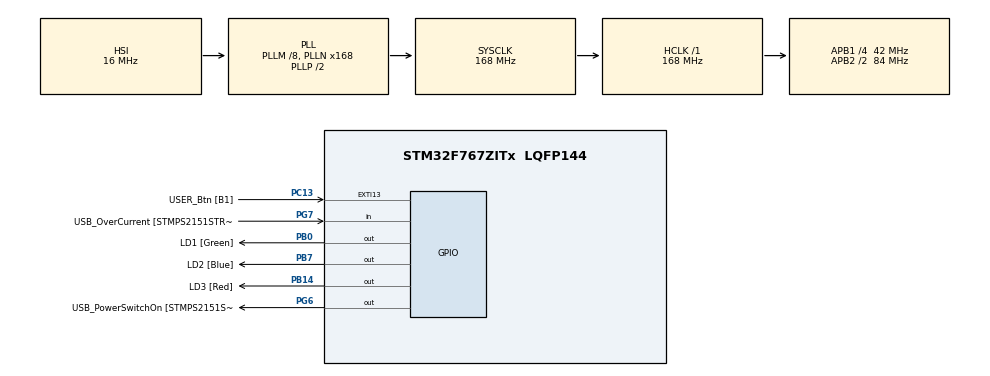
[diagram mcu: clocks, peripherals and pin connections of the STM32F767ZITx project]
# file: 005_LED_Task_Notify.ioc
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Mcu.Family=STM32F7
Mcu.Name=STM32F767ZITx
Mcu.Package=LQFP144
NVIC.PriorityGroup=NVIC_PRIORITYGROUP_4
NVIC.TIM5_IRQn=true\:15\:0\:false\:false\:true\:false\:true\:true
NVIC.TimeBase=TIM5_IRQn
NVIC.TimeBaseIP=TIM5
PA1.GPIO_Label=RMII_REF_CLK [LAN8742A-CZ-TR_REFCLK0]
PA1.Signal=ETH_REF_CLK
PA10.GPIO_Label=USB_ID
PA10.Signal=USB_OTG_FS_ID
PA11.GPIO_Label=USB_DM
PA11.Signal=USB_OTG_FS_DM
PA12.GPIO_Label=USB_DP
PA12.Signal=USB_OTG_FS_DP
PA13.GPIO_Label=TMS
PA13.Signal=SYS_JTMS-SWDIO
PA14.GPIO_Label=TCK
PA14.Signal=SYS_JTCK-SWCLK
PA2.GPIO_Label=RMII_MDIO [LAN8742A-CZ-TR_MDIO]
PA2.Signal=ETH_MDIO
PA7.GPIO_Label=RMII_CRS_DV [LAN8742A-CZ-TR_CRS_DV]
PA7.Signal=ETH_CRS_DV
PA8.GPIO_Label=USB_SOF [TP1]
PA8.Signal=USB_OTG_FS_SOF
PA9.GPIO_Label=USB_VBUS
PA9.Signal=USB_OTG_FS_VBUS
PB0.GPIO_Label=LD1 [Green]
PB0.Signal=GPIO_Output
PB13.GPIO_Label=RMII_TXD1 [LAN8742A-CZ-TR_TXD1]
PB13.Signal=ETH_TXD1
PB14.GPIO_Label=LD3 [Red]
PB14.Signal=GPIO_Output
PB3.GPIO_Label=SW0
PB3.Signal=SYS_JTDO-SWO
PB7.GPIO_Label=LD2 [Blue]
PB7.Signal=GPIO_Output
PC1.GPIO_Label=RMII_MDC [LAN8742A-CZ-TR_MDC]
PC1.Signal=ETH_MDC
PC13.GPIO_Label=USER_Btn [B1]
PC13.Signal=GPXTI13
PC14/OSC32_IN.Signal=RCC_OSC32_IN
PC15/OSC32_OUT.Signal=RCC_OSC32_OUT
PC4.GPIO_Label=RMII_RXD0 [LAN8742A-CZ-TR_RXD0]
PC4.Signal=ETH_RXD0
PC5.GPIO_Label=RMII_RXD1 [LAN8742A-CZ-TR_RXD1]
PC5.Signal=ETH_RXD1
PD8.GPIO_Label=STLK_RX [STM32F103CBT6_PA3]
PD8.Signal=USART3_TX
PD9.GPIO_Label=STLK_TX [STM32F103CBT6_PA2]
PD9.Signal=USART3_RX
PG11.GPIO_Label=RMII_TX_EN [LAN8742A-CZ-TR_TXEN]
PG11.Signal=ETH_TX_EN
PG13.GPIO_Label=RMII_TXD0 [LAN8742A-CZ-TR_TXD0]
PG13.Signal=ETH_TXD0
PG6.GPIO_Label=USB_PowerSwitchOn [STMPS2151STR_EN]
PG6.Signal=GPIO_Output
PG7.GPIO_Label=USB_OverCurrent [STMPS2151STR_FAULT]
PG7.Signal=GPIO_Input
PH0/OSC_IN.GPIO_Label=MCO [STM32F103CBT6_PA8]
PH0/OSC_IN.Mode=HSE-External-Oscillator
PH0/OSC_IN.Signal=RCC_OSC_IN
PH1/OSC_OUT.Mode=HSE-External-Oscillator
PH1/OSC_OUT.Signal=RCC_OSC_OUT
ProjectManager.HeapSize=0x200
ProjectManager.StackSize=0x400
ProjectManager.TargetToolchain=STM32CubeIDE
RCC.48MHZClocksFreq_Value=24000000
RCC.AHBFreq_Value=168000000
RCC.APB1CLKDivider=RCC_HCLK_DIV4
RCC.APB1Freq_Value=42000000
RCC.APB1TimFreq_Value=84000000
RCC.APB2CLKDivider=RCC_HCLK_DIV2
RCC.APB2Freq_Value=84000000
RCC.APB2TimFreq_Value=168000000
RCC.CortexFreq_Value=168000000
RCC.HCLKFreq_Value=168000000
RCC.HSE_VALUE=16000000
RCC.HSI_VALUE=16000000
RCC.LSE_VALUE=32768
RCC.PLLM=8
RCC.PLLMUL=RCC_PLL_MUL9
RCC.PLLN=168
RCC.PRESCALERUSB=RCC_USBCLKSOURCE_PLL_DIV1_5
RCC.SYSCLKFreq_VALUE=168000000
RCC.SYSCLKSource=RCC_SYSCLKSOURCE_PLLCLK
RCC.SYSCLKSourceVirtual=RCC_SYSCLKSOURCE_PLLCLK
RCC.USBFreq_Value=168000000
RCC.VCOOutputFreq_Value=336000000
VP_SYS_VS_tim5.Mode=TIM5
board=NUCLEO-F767ZI

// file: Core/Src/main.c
/* USER CODE BEGIN Header */
/**
  ******************************************************************************
  * @file           : main.c
  * @brief          : Main program body
  ******************************************************************************
  * @attention
  *
  * Copyright (c) 2024 STMicroelectronics.
  * All rights reserved.
  *
  * This software is licensed under terms that can be found in the LICENSE file
  * in the root directory of this software component.
  * If no LICENSE file comes with this software, it is provided AS-IS.
  *
  ******************************************************************************
  */
/* USER CODE END Header */
#include "main.h"

/* USER CODE BEGIN Includes */
#include "FreeRTOS.h"
#include "task.h"
/* USER CODE END Includes */

/* USER CODE BEGIN PD */
/* Define configASSERT() to disable interrupts and sit in a loop. */

/* USER CODE END PD */

/* USER CODE BEGIN PM */
#define LED_GREEN LD1_Pin
#define LED_BLUE LD2_Pin
#define LED_RED LD3_Pin
/* USER CODE END PM */

void SystemClock_Config(void);
static void MX_GPIO_Init(void);
/* USER CODE BEGIN PFP */
static void led_green_handler(void* params);
static void led_red_handler(void* params);
static void led_blue_handler(void* params);
static void button_handler(void* params);
extern void SEGGER_UART_init(uint32_t);
/* USER CODE END PFP */

/* USER CODE BEGIN 0 */
TaskHandle_t volatile next_task_handle;
TaskHandle_t task1_handle;
TaskHandle_t task2_handle;
TaskHandle_t task3_handle;
TaskHandle_t btn_task_handle;
/* USER CODE END 0 */

int main(void)
{

  /* USER CODE BEGIN 1 */

	BaseType_t status;
  /* USER CODE END 1 */

  /* MCU Configuration--------------------------------------------------------*/

  /* Reset of all peripherals, Initializes the Flash interface and the Systick. */
  HAL_Init();

  /* Configure the system clock */
  SystemClock_Config();

  /* Initialize all configured peripherals */
  MX_GPIO_Init();
  /* USER CODE BEGIN 2 */
  CoreDebug->DEMCR |= CoreDebug_DEMCR_TRCENA_Msk;

     DWT->LAR = 0xC5ACCE55;

     DWT->CYCCNT = 0;

     DWT->CTRL |= DWT_CTRL_CYCCNTENA_Msk;
  SEGGER_UART_init(250000);
  SEGGER_SYSVIEW_Conf();

  status=  xTaskCreate(led_green_handler, "LED_Green_Task", 200, NULL, 3,&task1_handle);
  configASSERT(status == pdPASS);
  next_task_handle = task1_handle;
  status=  xTaskCreate(led_blue_handler, "LED_Blue_Task", 200, NULL, 2,&task2_handle);
  configASSERT(status == pdPASS);
  status=  xTaskCreate(led_red_handler, "LED_Red_Task", 200, NULL, 1,&task3_handle);
  configASSERT(status == pdPASS);
  status=  xTaskCreate(button_handler, "Button_Task", 200, NULL, 4,&btn_task_handle);
    configASSERT(status == pdPASS);
  vTaskStartScheduler();
  /* USER CODE END 2 */

  /* Infinite loop */
  while (1)
  {

  }
}

void SystemClock_Config(void)
{
  RCC_OscInitTypeDef RCC_OscInitStruct = {0};
  RCC_ClkInitTypeDef RCC_ClkInitStruct = {0};

  /** Configure the main internal regulator output voltage
  */
  __HAL_RCC_PWR_CLK_ENABLE();
  __HAL_PWR_VOLTAGESCALING_CONFIG(PWR_REGULATOR_VOLTAGE_SCALE2);

  /** Initializes the RCC Oscillators according to the specified parameters
  * in the RCC_OscInitTypeDef structure.
  */
  RCC_OscInitStruct.OscillatorType = RCC_OSCILLATORTYPE_HSI;
  RCC_OscInitStruct.HSIState = RCC_HSI_ON;
  RCC_OscInitStruct.HSICalibrationValue = RCC_HSICALIBRATION_DEFAULT;
  RCC_OscInitStruct.PLL.PLLState = RCC_PLL_ON;
  RCC_OscInitStruct.PLL.PLLSource = RCC_PLLSOURCE_HSI;
  RCC_OscInitStruct.PLL.PLLM = 8;
  RCC_OscInitStruct.PLL.PLLN = 168;
  RCC_OscInitStruct.PLL.PLLP = RCC_PLLP_DIV2;
  RCC_OscInitStruct.PLL.PLLQ = 2;
  RCC_OscInitStruct.PLL.PLLR = 2;
  if (HAL_RCC_OscConfig(&RCC_OscInitStruct) != HAL_OK)
  {
    Error_Handler();
  }

  /** Initializes the CPU, AHB and APB buses clocks
  */
  RCC_ClkInitStruct.ClockType = RCC_CLOCKTYPE_HCLK|RCC_CLOCKTYPE_SYSCLK
                              |RCC_CLOCKTYPE_PCLK1|RCC_CLOCKTYPE_PCLK2;
  RCC_ClkInitStruct.SYSCLKSource = RCC_SYSCLKSOURCE_PLLCLK;
  RCC_ClkInitStruct.AHBCLKDivider = RCC_SYSCLK_DIV1;
  RCC_ClkInitStruct.APB1CLKDivider = RCC_HCLK_DIV4;
  RCC_ClkInitStruct.APB2CLKDivider = RCC_HCLK_DIV2;

  if (HAL_RCC_ClockConfig(&RCC_ClkInitStruct, FLASH_LATENCY_5) != HAL_OK)
  {
    Error_Handler();
  }
}

static void MX_GPIO_Init(void)
{
  GPIO_InitTypeDef GPIO_InitStruct = {0};

  /* GPIO Ports Clock Enable */
  __HAL_RCC_GPIOC_CLK_ENABLE();
  __HAL_RCC_GPIOH_CLK_ENABLE();
  __HAL_RCC_GPIOA_CLK_ENABLE();
  __HAL_RCC_GPIOB_CLK_ENABLE();
  __HAL_RCC_GPIOD_CLK_ENABLE();
  __HAL_RCC_GPIOG_CLK_ENABLE();

  /*Configure GPIO pin Output Level */
  HAL_GPIO_WritePin(GPIOB, LD1_Pin|LD3_Pin|LD2_Pin, GPIO_PIN_RESET);

  /*Configure GPIO pin Output Level */
  HAL_GPIO_WritePin(USB_PowerSwitchOn_GPIO_Port, USB_PowerSwitchOn_Pin, GPIO_PIN_RESET);

  /*Configure GPIO pin : USER_Btn_Pin */
  GPIO_InitStruct.Pin = USER_Btn_Pin;
  GPIO_InitStruct.Mode = GPIO_MODE_IT_RISING;
  GPIO_InitStruct.Pull = GPIO_NOPULL;
  HAL_GPIO_Init(USER_Btn_GPIO_Port, &GPIO_InitStruct);

  /*Configure GPIO pins : RMII_MDC_Pin RMII_RXD0_Pin RMII_RXD1_Pin */
  GPIO_InitStruct.Pin = RMII_MDC_Pin|RMII_RXD0_Pin|RMII_RXD1_Pin;
  GPIO_InitStruct.Mode = GPIO_MODE_AF_PP;
  GPIO_InitStruct.Pull = GPIO_NOPULL;
  GPIO_InitStruct.Speed = GPIO_SPEED_FREQ_VERY_HIGH;
  GPIO_InitStruct.Alternate = GPIO_AF11_ETH;
  HAL_GPIO_Init(GPIOC, &GPIO_InitStruct);

  /*Configure GPIO pins : RMII_REF_CLK_Pin RMII_MDIO_Pin RMII_CRS_DV_Pin */
  GPIO_InitStruct.Pin = RMII_REF_CLK_Pin|RMII_MDIO_Pin|RMII_CRS_DV_Pin;
  GPIO_InitStruct.Mode = GPIO_MODE_AF_PP;
  GPIO_InitStruct.Pull = GPIO_NOPULL;
  GPIO_InitStruct.Speed = GPIO_SPEED_FREQ_VERY_HIGH;
  GPIO_InitStruct.Alternate = GPIO_AF11_ETH;
  HAL_GPIO_Init(GPIOA, &GPIO_InitStruct);

  /*Configure GPIO pins : LD1_Pin LD3_Pin LD2_Pin */
  GPIO_InitStruct.Pin = LD1_Pin|LD3_Pin|LD2_Pin;
  GPIO_InitStruct.Mode = GPIO_MODE_OUTPUT_PP;
  GPIO_InitStruct.Pull = GPIO_NOPULL;
  GPIO_InitStruct.Speed = GPIO_SPEED_FREQ_LOW;
  HAL_GPIO_Init(GPIOB, &GPIO_InitStruct);

  /*Configure GPIO pin : RMII_TXD1_Pin */
  GPIO_InitStruct.Pin = RMII_TXD1_Pin;
  GPIO_InitStruct.Mode = GPIO_MODE_AF_PP;
  GPIO_InitStruct.Pull = GPIO_NOPULL;
  GPIO_InitStruct.Speed = GPIO_SPEED_FREQ_VERY_HIGH;
  GPIO_InitStruct.Alternate = GPIO_AF11_ETH;
  HAL_GPIO_Init(RMII_TXD1_GPIO_Port, &GPIO_InitStruct);

  /*Configure GPIO pins : STLK_RX_Pin STLK_TX_Pin */
  GPIO_InitStruct.Pin = STLK_RX_Pin|STLK_TX_Pin;
  GPIO_InitStruct.Mode = GPIO_MODE_AF_PP;
  GPIO_InitStruct.Pull = GPIO_NOPULL;
  GPIO_InitStruct.Speed = GPIO_SPEED_FREQ_VERY_HIGH;
  GPIO_InitStruct.Alternate = GPIO_AF7_USART3;
  HAL_GPIO_Init(GPIOD, &GPIO_InitStruct);

  /*Configure GPIO pin : USB_PowerSwitchOn_Pin */
  GPIO_InitStruct.Pin = USB_PowerSwitchOn_Pin;
  GPIO_InitStruct.Mode = GPIO_MODE_OUTPUT_PP;
  GPIO_InitStruct.Pull = GPIO_NOPULL;
  GPIO_InitStruct.Speed = GPIO_SPEED_FREQ_LOW;
  HAL_GPIO_Init(USB_PowerSwitchOn_GPIO_Port, &GPIO_InitStruct);

  /*Configure GPIO pin : USB_OverCurrent_Pin */
  GPIO_InitStruct.Pin = USB_OverCurrent_Pin;
  GPIO_InitStruct.Mode = GPIO_MODE_INPUT;
  GPIO_InitStruct.Pull = GPIO_NOPULL;
  HAL_GPIO_Init(USB_OverCurrent_GPIO_Port, &GPIO_InitStruct);

  /*Configure GPIO pins : USB_SOF_Pin USB_ID_Pin USB_DM_Pin USB_DP_Pin */
  GPIO_InitStruct.Pin = USB_SOF_Pin|USB_ID_Pin|USB_DM_Pin|USB_DP_Pin;
  GPIO_InitStruct.Mode = GPIO_MODE_AF_PP;
  GPIO_InitStruct.Pull = GPIO_NOPULL;
  GPIO_InitStruct.Speed = GPIO_SPEED_FREQ_VERY_HIGH;
  GPIO_InitStruct.Alternate = GPIO_AF10_OTG_FS;
  HAL_GPIO_Init(GPIOA, &GPIO_InitStruct);

  /*Configure GPIO pin : USB_VBUS_Pin */
  GPIO_InitStruct.Pin = USB_VBUS_Pin;
  GPIO_InitStruct.Mode = GPIO_MODE_INPUT;
  GPIO_InitStruct.Pull = GPIO_NOPULL;
  HAL_GPIO_Init(USB_VBUS_GPIO_Port, &GPIO_InitStruct);

  /*Configure GPIO pins : RMII_TX_EN_Pin RMII_TXD0_Pin */
  GPIO_InitStruct.Pin = RMII_TX_EN_Pin|RMII_TXD0_Pin;
  GPIO_InitStruct.Mode = GPIO_MODE_AF_PP;
  GPIO_InitStruct.Pull = GPIO_NOPULL;
  GPIO_InitStruct.Speed = GPIO_SPEED_FREQ_VERY_HIGH;
  GPIO_InitStruct.Alternate = GPIO_AF11_ETH;
  HAL_GPIO_Init(GPIOG, &GPIO_InitStruct);

}

/* USER CODE BEGIN 4 */
static void led_green_handler(void* parameters)
{
	BaseType_t status;
	while(1)
	{
		SEGGER_SYSVIEW_PrintfTarget("Toggling Green LED");
		HAL_GPIO_TogglePin(GPIOB, LED_GREEN);
		status =xTaskNotifyWait(0,0,NULL,1000);
		if (status == pdTRUE)
		{
			vTaskSuspendAll();
			next_task_handle = task2_handle;
			xTaskResumeAll();
			HAL_GPIO_WritePin(GPIOB, LED_GREEN, GPIO_PIN_RESET);
			SEGGER_SYSVIEW_PrintfTarget("Suspend Green LED Task");
			vTaskSuspend(NULL);
		}

	}
}
static void led_red_handler(void* parameters)
{
	BaseType_t status;
		while(1)
		{

			SEGGER_SYSVIEW_PrintfTarget("Toggling Red LED");
			HAL_GPIO_TogglePin(GPIOB, LED_RED);
			status =xTaskNotifyWait(0,0,NULL,400);
			if (status == pdTRUE)
			{
				vTaskSuspendAll();
				next_task_handle = NULL;
				xTaskResumeAll();
				HAL_GPIO_WritePin(GPIOB, LED_RED, GPIO_PIN_RESET);
				SEGGER_SYSVIEW_PrintfTarget("Suspend Red LED Task");
				//vTaskDelete(btn_task_handle);
				vTaskSuspend(NULL);
			}

		}
}
static void led_blue_handler(void* parameters)
{
	BaseType_t status;
			while(1)
			{
				SEGGER_SYSVIEW_PrintfTarget("Toggling Blue LED");
				HAL_GPIO_TogglePin(GPIOB, LED_BLUE);
				status =xTaskNotifyWait(0,0,NULL,800);
				if (status == pdTRUE)
				{
					vTaskSuspendAll();
					next_task_handle = task3_handle;
					xTaskResumeAll();
					HAL_GPIO_WritePin(GPIOB, LED_BLUE, GPIO_PIN_RESET);
					SEGGER_SYSVIEW_PrintfTarget("Suspend Blue LED Task");
					vTaskSuspend(NULL);
				}

			}
}
void button_handler(void * params)
{
	uint8_t btn_read = 0;
	uint8_t prev_read = 0;
	while(1)
	{
		btn_read  = HAL_GPIO_ReadPin(GPIOC, GPIO_PIN_13);
		if (btn_read){
		if (!prev_read)
		{
			xTaskNotify(next_task_handle,0,eNoAction);
			if (next_task_handle == NULL)
			{
						next_task_handle = task1_handle;
						vTaskResume(task1_handle);
						vTaskResume(task2_handle);
						vTaskResume(task3_handle);
			}
		}}
		prev_read = btn_read;
		vTaskDelay(pdMS_TO_TICKS(10));

	}

}
void vAssertCalled( unsigned long ulLine, const char * const pcFileName )
{
//static portBASE_TYPE xPrinted = pdFALSE;
volatile uint32_t ulSetToNonZeroInDebuggerToContinue = 0;

    /* Parameters are not used. */
    ( void ) ulLine;
    ( void ) pcFileName;

    taskENTER_CRITICAL();
    {
        /* You can step out of this function to debug the assertion by using
        the debugger to set ulSetToNonZeroInDebuggerToContinue to a non-zero
        value. */
        while( ulSetToNonZeroInDebuggerToContinue == 1 )
        {
        }
    }
    taskEXIT_CRITICAL();
}
/* USER CODE END 4 */

void Error_Handler(void)
{
  __disable_irq();
  while (1)
  {
  }
}
